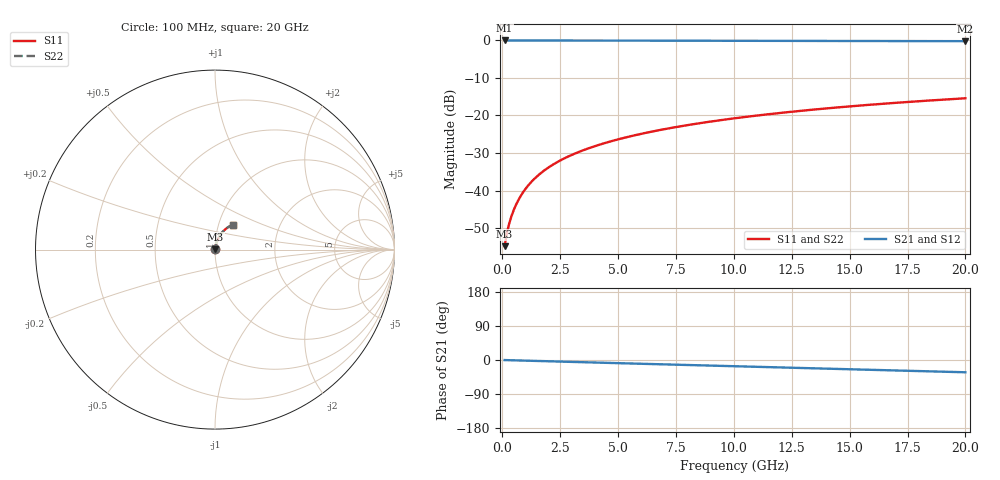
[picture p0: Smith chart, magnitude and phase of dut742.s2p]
! Touchstone file exported from HFSS 2026.1.0
!  File:  C:/ffzhzh/LocalFiles/Ansys_Project_Files/temp_train_BSMRDL_742_1783168711_51560.aedt
!  Generated:  08:39:44 PM Jul  4, 2026
!  Design:  BSMRDL
!  Project:  temp_train_BSMRDL_742_1783168711_51560
! Variables:
!  h_bsmrdl = 5.96um
!  h_ox = 20um
!  h_rdl = 5um
!  h_sub = 80um
!  h_tmrdl = 5um
!  h_tsv = 80um
!  h_via = 3um
!  l_bsmrdl = 533.33um
!  l_sub = 933.33um
!  l_tmrdl = 200um
!  m_sub = 200um
!  pitch = 44.14um
!  r_tsv = 6um
!  s_tmrdl = 10um
!  w_bsmrdl = 29.24um
!  w_sub = 500um
!  w_tmrdl = 12um
!  x_tsv_center1 = 206um
!  x_tsv_center2 = 768.57um
!  x_tsv_center3 = 980.57um
!  x_tsv_center4 = 1543.14um
!  x_tsv_center5 = 1755.14um
!  x_tsv_center6 = 2317.71um
# GHz S MA R 50.000000
! Terminal data exported
! Port[1] = BSM_RDL1_1_T1
! Port[2] = BSM_RDL1_1_T2
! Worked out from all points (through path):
!   200 points, 100 MHz to 20 GHz, reference 50 ohm
!   highest |S21| = -0.01 dB at 100 MHz (marker M1); lowest = -0.2 dB at 20 GHz (marker M2)
!   group delay of S21, straight-line fit = 4.49 ps
!   lowest |S11| = -54.8 dB at 100 MHz (marker M3), VSWR 1.00, Z = 50.1 + j0.124 ohm
!   |S11| at or under -10 dB: start of sweep to end of sweep
!   |S22| runs from -54.8 to -15.4 dB; largest |S21 - S12| = 2.7e-15
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0.1  0.001813 43.0  0.9987 -0.2  0.9987 -0.2  0.001813 43.0
! Gamma 0 0 0 0
! Port Impedance 50 0 50 0
0.2  0.002732 56.7  0.9985 -0.4  0.9985 -0.4  0.002732 56.7
0.3  0.00365 63.8  0.9984 -0.5  0.9984 -0.5  0.00365 63.8
0.4  0.004589 68.3  0.9984 -0.7  0.9984 -0.7  0.004589 68.3
0.5  0.005549 71.4  0.9983 -0.9  0.9983 -0.9  0.005549 71.4
0.6  0.006524 73.6  0.9982 -1.0  0.9982 -1.0  0.006524 73.6
0.8  0.0085 76.2  0.9981 -1.4  0.9981 -1.4  0.0085 76.2
1.1  0.01148 78.2  0.998 -1.9  0.998 -1.9  0.01148 78.2
1.3  0.01347 78.8  0.9978 -2.2  0.9978 -2.2  0.01347 78.8
1.5  0.01545 79.1  0.9976 -2.6  0.9976 -2.6  0.01545 79.1
1.8  0.01838 79.3  0.9974 -3.1  0.9974 -3.1  0.01838 79.3
2.1  0.02129 79.2  0.9971 -3.6  0.9971 -3.6  0.02129 79.3
2.7  0.027 78.8  0.9965 -4.6  0.9965 -4.6  0.027 78.8
3.5  0.03444 78.0  0.9957 -5.9  0.9957 -5.9  0.03444 78.0
4.2  0.04083 77.1  0.995 -7.0  0.995 -7.0  0.04083 77.2
5  0.04803 76.2  0.9943 -8.3  0.9943 -8.3  0.04803 76.2
6.8  0.06394 73.8  0.9925 -11.3  0.9925 -11.3  0.06394 73.9
8.3  0.07696 71.8  0.991 -13.7  0.991 -13.7  0.07695 71.8
10.1  0.09227 69.2  0.9891 -16.6  0.9891 -16.6  0.09227 69.3
13.4  0.1194 64.4  0.9852 -21.9  0.9852 -21.9  0.1194 64.5
16.7  0.1452 59.5  0.9809 -27.2  0.9809 -27.2  0.1452 59.6
20  0.1694 54.5  0.9764 -32.4  0.9764 -32.4  0.1694 54.6
